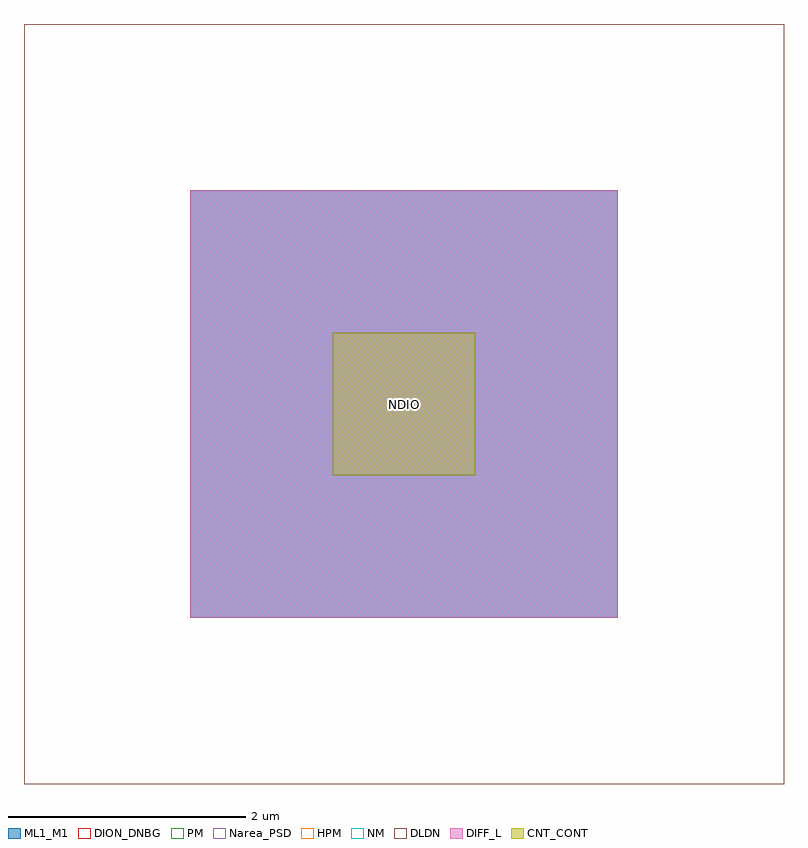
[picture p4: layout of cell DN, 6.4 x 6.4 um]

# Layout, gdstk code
import gdstk
lib = gdstk.Library(unit=1e-6, precision=1e-09)
def R(c, l, rs):  # rectangles x0, y0, x1, y1
    for r in rs: c.add(gdstk.rectangle(r[:2], r[2:], *l))
DIFF_L = (3, 0)
NM = (7, 0)
Narea_PSD = (9, 0)
CNT_CONT = (11, 0)
ML1_M1 = (13, 0)
HPM = (33, 0)
PM = (35, 0)
DION_DNBG = (117, 0)
DLDN = (168, 0)

c_dn = lib.new_cell('DN')
R(c_dn, DIFF_L, [(0,0,3.6,3.6)])
R(c_dn, NM, [(-1.4,-1.4,5,5)])
R(c_dn, Narea_PSD, [(-1.4,-1.4,5,5)])
R(c_dn, CNT_CONT, [(1.2,1.2,2.4,2.4)])
R(c_dn, ML1_M1, [(0,0,3.6,3.6), (0,0,3.6,3.6), (0,0,3.6,3.6), (0,0,3.6,3.6), (0,0,3.6,3.6)])
R(c_dn, HPM, [(-1.4,-1.4,5,5)])
R(c_dn, PM, [(-1.4,-1.4,5,5)])
R(c_dn, DION_DNBG, [(-1.4,-1.4,5,5), (0,0,3.6,3.6)])
R(c_dn, DLDN, [(-1.4,-1.4,5,5)])
c_dn.add(gdstk.Label('NDIO', (1.8,1.8), layer=3, texttype=0))

lib.write_gds('DN.gds')
